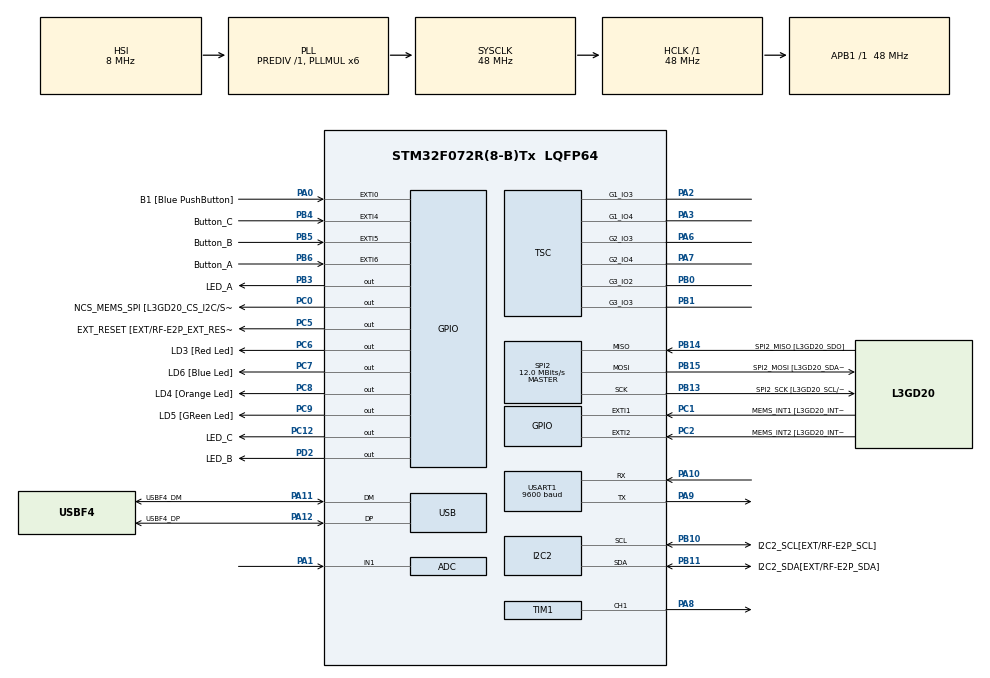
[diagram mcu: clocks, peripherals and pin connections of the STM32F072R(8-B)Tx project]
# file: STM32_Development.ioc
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ADC.Resolution=ADC_RESOLUTION_8B
FREERTOS.INCLUDE_vTaskDelayUntil=1
FREERTOS.Queues01=ledShow,1,uint8_t,0,Dynamic,NULL,NULL
FREERTOS.Tasks01=defaultTask,-3,1800,StartDefaultTask,Default,NULL,Dynamic,NULL,NULL;myTask02,-3,128,StartTask02,Default,NULL,Dynamic,NULL,NULL;continuousTask0,-3,128,ContinuousTask01,Default,NULL,Dynamic,NULL,NULL
FREERTOS.configTOTAL_HEAP_SIZE=10240
I2C2.Timing=0x20303E5D
Mcu.Family=STM32F0
Mcu.Name=STM32F072R(8-B)Tx
Mcu.Package=LQFP64
NVIC.EXTI4_15_IRQn=true\:3\:0\:false\:false\:true\:true\:true\:true
NVIC.TIM6_DAC_IRQn=true\:3\:0\:false\:false\:true\:true\:true\:true
PA0.GPIO_Label=B1 [Blue PushButton]
PA0.GPIO_ModeDefaultEXTI=GPIO_MODE_EVT_RISING
PA0.Signal=GPXTI0
PA1.Mode=IN1
PA1.Signal=ADC_IN1
PA10.Mode=Asynchronous
PA10.Signal=USART1_RX
PA11.GPIO_Label=USBF4_DM
PA11.Mode=Device
PA11.Signal=USB_DM
PA12.GPIO_Label=USBF4_DP
PA12.Mode=Device
PA12.Signal=USB_DP
PA13.GPIO_Label=SWDIO
PA13.Mode=Serial_Wire
PA13.Signal=SYS_SWDIO
PA14.GPIO_Label=SWCLK
PA14.Mode=Serial_Wire
PA14.Signal=SYS_SWCLK
PA2.Mode=G1_IO3-Channel
PA2.Signal=TSC_G1_IO3
PA3.Mode=G1_IO4-Sampling
PA3.Signal=TSC_G1_IO4
PA6.Mode=G2_IO3-Channel
PA6.Signal=TSC_G2_IO3
PA7.Mode=G2_IO4-Sampling
PA7.Signal=TSC_G2_IO4
PA8.Signal=S_TIM1_CH1
PA9.Mode=Asynchronous
PA9.Signal=USART1_TX
PB0.Mode=G3_IO2-Channel
PB0.Signal=TSC_G3_IO2
PB1.Mode=G3_IO3-Sampling
PB1.Signal=TSC_G3_IO3
PB10.GPIO_Label=I2C2_SCL[EXT/RF-E2P_SCL]
PB10.Mode=I2C
PB10.Signal=I2C2_SCL
PB11.GPIO_Label=I2C2_SDA[EXT/RF-E2P_SDA]
PB11.Mode=I2C
PB11.Signal=I2C2_SDA
PB13.GPIO_Label=SPI2_SCK [L3GD20_SCL/SPC]
PB13.Mode=Full_Duplex_Master
PB13.Signal=SPI2_SCK
PB14.GPIO_Label=SPI2_MISO [L3GD20_SDO]
PB14.Mode=Full_Duplex_Master
PB14.Signal=SPI2_MISO
PB15.GPIO_Label=SPI2_MOSI [L3GD20_SDA/SDI]
PB15.Mode=Full_Duplex_Master
PB15.Signal=SPI2_MOSI
PB3.GPIO_Label=LED_A
PB3.Signal=GPIO_Output
PB4.GPIO_Label=Button_C
PB4.Signal=GPXTI4
PB5.GPIO_Label=Button_B
PB5.GPIO_ModeDefaultEXTI=GPIO_MODE_IT_FALLING
PB5.Signal=GPXTI5
PB6.GPIO_Label=Button_A
PB6.GPIO_ModeDefaultEXTI=GPIO_MODE_IT_FALLING
PB6.Signal=GPXTI6
PC0.GPIO_Label=NCS_MEMS_SPI [L3GD20_CS_I2C/SPI]
PC0.Signal=GPIO_Output
PC1.GPIO_Label=MEMS_INT1 [L3GD20_INT1]
PC1.GPIO_ModeDefaultEXTI=GPIO_MODE_EVT_RISING
PC1.Signal=GPXTI1
PC12.GPIO_Label=LED_C
PC12.Signal=GPIO_Output
PC2.GPIO_Label=MEMS_INT2 [L3GD20_INT2]
PC2.GPIO_ModeDefaultEXTI=GPIO_MODE_EVT_RISING
PC2.Signal=GPXTI2
PC5.GPIO_Label=EXT_RESET [EXT/RF-E2P_EXT_RESET]
PC5.Signal=GPIO_Output
PC6.GPIO_Label=LD3 [Red Led]
PC6.Signal=GPIO_Output
PC7.GPIO_Label=LD6 [Blue Led]
PC7.Signal=GPIO_Output
PC8.GPIO_Label=LD4 [Orange Led]
PC8.Signal=GPIO_Output
PC9.GPIO_Label=LD5 [GReen Led]
PC9.Signal=GPIO_Output
PD2.GPIO_Label=LED_B
PD2.Signal=GPIO_Output
ProjectManager.HeapSize=0x200
ProjectManager.StackSize=0x400
ProjectManager.TargetToolchain=STM32CubeIDE
RCC.AHBFreq_Value=48000000
RCC.APB1Freq_Value=48000000
RCC.APB1TimFreq_Value=48000000
RCC.HCLKFreq_Value=48000000
RCC.PLLMUL=RCC_PLL_MUL6
RCC.SYSCLKFreq_VALUE=48000000
RCC.SYSCLKSource=RCC_SYSCLKSOURCE_PLLCLK
SH.S_TIM1_CH1.0=TIM1_CH1,PWM Generation1 CH1
SPI2.BaudRatePrescaler=SPI_BAUDRATEPRESCALER_4
SPI2.CalculateBaudRate=12.0 MBits/s
SPI2.Direction=SPI_DIRECTION_2LINES
SPI2.Mode=SPI_MODE_MASTER
SPI2.VirtualType=VM_MASTER
TIM1.Channel-PWM\ Generation1\ CH1=TIM_CHANNEL_1
TIM1.Period=65535
TIM1.Prescaler=0
TIM6.Period=801
TIM6.Prescaler=601
TSC.ChannelIOs-G1_IO3=TSC_GROUP1_IO3
TSC.ChannelIOs-G2_IO3=TSC_GROUP2_IO3
TSC.ChannelIOs-G3_IO2=TSC_GROUP3_IO2
TSC.SamplingIOs-G1_IO4=TSC_GROUP1_IO4
TSC.SamplingIOs-G2_IO4=TSC_GROUP2_IO4
TSC.SamplingIOs-G3_IO3=TSC_GROUP3_IO3
USART1.BaudRate=9600
USART1.VirtualMode-Asynchronous=VM_ASYNC
USB.phy_itface=PCD_PHY_EMBEDDED
USB.speed=PCD_SPEED_FULL
VP_FREERTOS_VS_CMSIS_V1.Mode=CMSIS_V1
VP_TIM1_VS_ClockSourceINT.Mode=Internal
VP_TIM6_VS_ClockSourceINT.Mode=Enable_Timer
board=STM32F072B-DISCO

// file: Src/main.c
/* USER CODE BEGIN Header */
/**
  ******************************************************************************
  * @file           : main.c
  * @brief          : Main program body
  ******************************************************************************
  * @attention
  *
  * <h2><center>&copy; Copyright (c) 2019 STMicroelectronics.
  * All rights reserved.</center></h2>
  *
  * This software component is licensed by ST under BSD 3-Clause license,
  * the "License"; You may not use this file except in compliance with the
  * License. You may obtain a copy of the License at:
  *                        opensource.org/licenses/BSD-3-Clause
  *
  ******************************************************************************
  */
/* USER CODE END Header */

#include "main.h"
#include "cmsis_os.h"

/* USER CODE BEGIN PD */
uint8_t ADC1_Value;
uint8_t ADC2_Value;
uint8_t Buttons_flag=0;
float Vref=3.0;
float Vm;
uint16_t Timer6_Counter;
/* USER CODE END PD */

ADC_HandleTypeDef hadc;

I2C_HandleTypeDef hi2c2;

SPI_HandleTypeDef hspi2;

TIM_HandleTypeDef htim1;
TIM_HandleTypeDef htim6;

TSC_HandleTypeDef htsc;

UART_HandleTypeDef huart1;

PCD_HandleTypeDef hpcd_USB_FS;

osThreadId defaultTaskHandle;
osThreadId myTask02Handle;
osThreadId continuousTask0Handle;
osMessageQId ledShowHandle;

void SystemClock_Config(void);
static void MX_GPIO_Init(void);
static void MX_I2C2_Init(void);
static void MX_SPI2_Init(void);
static void MX_TSC_Init(void);
static void MX_USB_PCD_Init(void);
static void MX_ADC_Init(void);
static void MX_USART1_UART_Init(void);
static void MX_TIM6_Init(void);
static void MX_TIM1_Init(void);
void StartDefaultTask(void const * argument);
void StartTask02(void const * argument);
void ContinuousTask01(void const * argument);

/* USER CODE BEGIN PFP */
float ADC1_Measure_Poll(void);
typedef enum Keystroke{
	Reset=0,
	SingleClick=1,
	DoubleClick=2,
	LongPress=3,
	OptionKey = 0xAA,
	SimuClick=0xFF
}TypeofClick;
uint16_t ButtonStatus=0;
uint16_t ButIdle_Count=0;
uint8_t IDLE_Flag=0;
/* USER CODE END PFP */

/* USER CODE BEGIN 0 */

int __io_putchar(int ch)
{
	 HAL_UART_Transmit(&huart1, (uint8_t *)&ch, 1, 0xffff);
	 return ch;
}

int __io_getchar(void)
{
	uint8_t ch = 0;
	HAL_UART_Receive(&huart1,(uint8_t *)&ch, 1, 0xFFFF);
	if (ch == '\r')
	{
	   __io_putchar('\r');
	   ch = '\n';
	}
	//return __io_putchar(ch); // return ch;
	return ch;
}

int _read(int file, char *ptr, int len)
{
	int DataIdx;

	for (DataIdx = 0; DataIdx < len; DataIdx++)
	{
		*ptr = __io_getchar();
		if (*ptr++ == '\n') break;
	}
	return ++DataIdx;
}
/* USER CODE END 0 */

int main(void)
{

  /* MCU Configuration--------------------------------------------------------*/

  /* Reset of all peripherals, Initializes the Flash interface and the Systick. */
  HAL_Init();

  /* Configure the system clock */
  SystemClock_Config();

  /* Initialize all configured peripherals */
  MX_GPIO_Init();
  MX_I2C2_Init();
  MX_SPI2_Init();
  MX_TSC_Init();
  MX_USB_PCD_Init();
  MX_ADC_Init();
  MX_USART1_UART_Init();
  MX_TIM6_Init();
  MX_TIM1_Init();
  /* USER CODE BEGIN 2 */
  //HAL_TIM_Base_Start_IT(&htim6); //Start 10ms timer
  /* USER CODE END 2 */

  /* Create the queue(s) */
  /* definition and creation of ledShow */
  osMessageQDef(ledShow, 1, uint8_t);
  ledShowHandle = osMessageCreate(osMessageQ(ledShow), NULL);

  /* Create the thread(s) */
  /* definition and creation of defaultTask */
  osThreadDef(defaultTask, StartDefaultTask, osPriorityIdle, 0, 1800);
  defaultTaskHandle = osThreadCreate(osThread(defaultTask), NULL);

  /* definition and creation of myTask02 */
  osThreadDef(myTask02, StartTask02, osPriorityIdle, 0, 128);
  myTask02Handle = osThreadCreate(osThread(myTask02), NULL);

  /* definition and creation of continuousTask0 */
  osThreadDef(continuousTask0, ContinuousTask01, osPriorityIdle, 0, 128);
  continuousTask0Handle = osThreadCreate(osThread(continuousTask0), NULL);

  /* Start scheduler */
  osKernelStart();

  /* We should never get here as control is now taken by the scheduler */

  /* Infinite loop */
  while (1)
  {

  }
}

void SystemClock_Config(void)
{
  RCC_OscInitTypeDef RCC_OscInitStruct = {0};
  RCC_ClkInitTypeDef RCC_ClkInitStruct = {0};
  RCC_PeriphCLKInitTypeDef PeriphClkInit = {0};

  /** Initializes the CPU, AHB and APB busses clocks
  */
  RCC_OscInitStruct.OscillatorType = RCC_OSCILLATORTYPE_HSI|RCC_OSCILLATORTYPE_HSI14
                              |RCC_OSCILLATORTYPE_HSI48;
  RCC_OscInitStruct.HSIState = RCC_HSI_ON;
  RCC_OscInitStruct.HSI48State = RCC_HSI48_ON;
  RCC_OscInitStruct.HSI14State = RCC_HSI14_ON;
  RCC_OscInitStruct.HSICalibrationValue = RCC_HSICALIBRATION_DEFAULT;
  RCC_OscInitStruct.HSI14CalibrationValue = 16;
  RCC_OscInitStruct.PLL.PLLState = RCC_PLL_ON;
  RCC_OscInitStruct.PLL.PLLSource = RCC_PLLSOURCE_HSI;
  RCC_OscInitStruct.PLL.PLLMUL = RCC_PLL_MUL6;
  RCC_OscInitStruct.PLL.PREDIV = RCC_PREDIV_DIV1;
  if (HAL_RCC_OscConfig(&RCC_OscInitStruct) != HAL_OK)
  {
    Error_Handler();
  }
  /** Initializes the CPU, AHB and APB busses clocks
  */
  RCC_ClkInitStruct.ClockType = RCC_CLOCKTYPE_HCLK|RCC_CLOCKTYPE_SYSCLK
                              |RCC_CLOCKTYPE_PCLK1;
  RCC_ClkInitStruct.SYSCLKSource = RCC_SYSCLKSOURCE_PLLCLK;
  RCC_ClkInitStruct.AHBCLKDivider = RCC_SYSCLK_DIV1;
  RCC_ClkInitStruct.APB1CLKDivider = RCC_HCLK_DIV1;

  if (HAL_RCC_ClockConfig(&RCC_ClkInitStruct, FLASH_LATENCY_1) != HAL_OK)
  {
    Error_Handler();
  }
  PeriphClkInit.PeriphClockSelection = RCC_PERIPHCLK_USB|RCC_PERIPHCLK_USART1;
  PeriphClkInit.Usart1ClockSelection = RCC_USART1CLKSOURCE_PCLK1;
  PeriphClkInit.UsbClockSelection = RCC_USBCLKSOURCE_HSI48;

  if (HAL_RCCEx_PeriphCLKConfig(&PeriphClkInit) != HAL_OK)
  {
    Error_Handler();
  }
}

static void MX_ADC_Init(void)
{

  ADC_ChannelConfTypeDef sConfig = {0};

  /** Configure the global features of the ADC (Clock, Resolution, Data Alignment and number of conversion)
  */
  hadc.Instance = ADC1;
  hadc.Init.ClockPrescaler = ADC_CLOCK_ASYNC_DIV1;
  hadc.Init.Resolution = ADC_RESOLUTION_8B;
  hadc.Init.DataAlign = ADC_DATAALIGN_RIGHT;
  hadc.Init.ScanConvMode = ADC_SCAN_DIRECTION_FORWARD;
  hadc.Init.EOCSelection = ADC_EOC_SINGLE_CONV;
  hadc.Init.LowPowerAutoWait = DISABLE;
  hadc.Init.LowPowerAutoPowerOff = DISABLE;
  hadc.Init.ContinuousConvMode = DISABLE;
  hadc.Init.DiscontinuousConvMode = DISABLE;
  hadc.Init.ExternalTrigConv = ADC_SOFTWARE_START;
  hadc.Init.ExternalTrigConvEdge = ADC_EXTERNALTRIGCONVEDGE_NONE;
  hadc.Init.DMAContinuousRequests = DISABLE;
  hadc.Init.Overrun = ADC_OVR_DATA_PRESERVED;
  if (HAL_ADC_Init(&hadc) != HAL_OK)
  {
    Error_Handler();
  }
  /** Configure for the selected ADC regular channel to be converted.
  */
  sConfig.Channel = ADC_CHANNEL_1;
  sConfig.Rank = ADC_RANK_CHANNEL_NUMBER;
  sConfig.SamplingTime = ADC_SAMPLETIME_1CYCLE_5;
  if (HAL_ADC_ConfigChannel(&hadc, &sConfig) != HAL_OK)
  {
    Error_Handler();
  }

}

static void MX_I2C2_Init(void)
{

  hi2c2.Instance = I2C2;
  hi2c2.Init.Timing = 0x20303E5D;
  hi2c2.Init.OwnAddress1 = 0;
  hi2c2.Init.AddressingMode = I2C_ADDRESSINGMODE_7BIT;
  hi2c2.Init.DualAddressMode = I2C_DUALADDRESS_DISABLE;
  hi2c2.Init.OwnAddress2 = 0;
  hi2c2.Init.OwnAddress2Masks = I2C_OA2_NOMASK;
  hi2c2.Init.GeneralCallMode = I2C_GENERALCALL_DISABLE;
  hi2c2.Init.NoStretchMode = I2C_NOSTRETCH_DISABLE;
  if (HAL_I2C_Init(&hi2c2) != HAL_OK)
  {
    Error_Handler();
  }
  /** Configure Analogue filter
  */
  if (HAL_I2CEx_ConfigAnalogFilter(&hi2c2, I2C_ANALOGFILTER_ENABLE) != HAL_OK)
  {
    Error_Handler();
  }
  /** Configure Digital filter
  */
  if (HAL_I2CEx_ConfigDigitalFilter(&hi2c2, 0) != HAL_OK)
  {
    Error_Handler();
  }

}

static void MX_SPI2_Init(void)
{

  /* SPI2 parameter configuration*/
  hspi2.Instance = SPI2;
  hspi2.Init.Mode = SPI_MODE_MASTER;
  hspi2.Init.Direction = SPI_DIRECTION_2LINES;
  hspi2.Init.DataSize = SPI_DATASIZE_4BIT;
  hspi2.Init.CLKPolarity = SPI_POLARITY_LOW;
  hspi2.Init.CLKPhase = SPI_PHASE_1EDGE;
  hspi2.Init.NSS = SPI_NSS_SOFT;
  hspi2.Init.BaudRatePrescaler = SPI_BAUDRATEPRESCALER_4;
  hspi2.Init.FirstBit = SPI_FIRSTBIT_MSB;
  hspi2.Init.TIMode = SPI_TIMODE_DISABLE;
  hspi2.Init.CRCCalculation = SPI_CRCCALCULATION_DISABLE;
  hspi2.Init.CRCPolynomial = 7;
  hspi2.Init.CRCLength = SPI_CRC_LENGTH_DATASIZE;
  hspi2.Init.NSSPMode = SPI_NSS_PULSE_ENABLE;
  if (HAL_SPI_Init(&hspi2) != HAL_OK)
  {
    Error_Handler();
  }

}

static void MX_TIM1_Init(void)
{

  TIM_ClockConfigTypeDef sClockSourceConfig = {0};
  TIM_MasterConfigTypeDef sMasterConfig = {0};
  TIM_OC_InitTypeDef sConfigOC = {0};
  TIM_BreakDeadTimeConfigTypeDef sBreakDeadTimeConfig = {0};

  htim1.Instance = TIM1;
  htim1.Init.Prescaler = 0;
  htim1.Init.CounterMode = TIM_COUNTERMODE_UP;
  htim1.Init.Period = 65535;
  htim1.Init.ClockDivision = TIM_CLOCKDIVISION_DIV1;
  htim1.Init.RepetitionCounter = 0;
  htim1.Init.AutoReloadPreload = TIM_AUTORELOAD_PRELOAD_DISABLE;
  if (HAL_TIM_Base_Init(&htim1) != HAL_OK)
  {
    Error_Handler();
  }
  sClockSourceConfig.ClockSource = TIM_CLOCKSOURCE_INTERNAL;
  if (HAL_TIM_ConfigClockSource(&htim1, &sClockSourceConfig) != HAL_OK)
  {
    Error_Handler();
  }
  if (HAL_TIM_PWM_Init(&htim1) != HAL_OK)
  {
    Error_Handler();
  }
  sMasterConfig.MasterOutputTrigger = TIM_TRGO_RESET;
  sMasterConfig.MasterSlaveMode = TIM_MASTERSLAVEMODE_DISABLE;
  if (HAL_TIMEx_MasterConfigSynchronization(&htim1, &sMasterConfig) != HAL_OK)
  {
    Error_Handler();
  }
  sConfigOC.OCMode = TIM_OCMODE_PWM1;
  sConfigOC.Pulse = 0;
  sConfigOC.OCPolarity = TIM_OCPOLARITY_HIGH;
  sConfigOC.OCNPolarity = TIM_OCNPOLARITY_HIGH;
  sConfigOC.OCFastMode = TIM_OCFAST_DISABLE;
  sConfigOC.OCIdleState = TIM_OCIDLESTATE_RESET;
  sConfigOC.OCNIdleState = TIM_OCNIDLESTATE_RESET;
  if (HAL_TIM_PWM_ConfigChannel(&htim1, &sConfigOC, TIM_CHANNEL_1) != HAL_OK)
  {
    Error_Handler();
  }
  sBreakDeadTimeConfig.OffStateRunMode = TIM_OSSR_DISABLE;
  sBreakDeadTimeConfig.OffStateIDLEMode = TIM_OSSI_DISABLE;
  sBreakDeadTimeConfig.LockLevel = TIM_LOCKLEVEL_OFF;
  sBreakDeadTimeConfig.DeadTime = 0;
  sBreakDeadTimeConfig.BreakState = TIM_BREAK_DISABLE;
  sBreakDeadTimeConfig.BreakPolarity = TIM_BREAKPOLARITY_HIGH;
  sBreakDeadTimeConfig.AutomaticOutput = TIM_AUTOMATICOUTPUT_DISABLE;
  if (HAL_TIMEx_ConfigBreakDeadTime(&htim1, &sBreakDeadTimeConfig) != HAL_OK)
  {
    Error_Handler();
  }
  HAL_TIM_MspPostInit(&htim1);

}

static void MX_TIM6_Init(void)
{

  TIM_MasterConfigTypeDef sMasterConfig = {0};

  htim6.Instance = TIM6;
  htim6.Init.Prescaler = 601;
  htim6.Init.CounterMode = TIM_COUNTERMODE_UP;
  htim6.Init.Period = 801;
  htim6.Init.AutoReloadPreload = TIM_AUTORELOAD_PRELOAD_DISABLE;
  if (HAL_TIM_Base_Init(&htim6) != HAL_OK)
  {
    Error_Handler();
  }
  sMasterConfig.MasterOutputTrigger = TIM_TRGO_RESET;
  sMasterConfig.MasterSlaveMode = TIM_MASTERSLAVEMODE_DISABLE;
  if (HAL_TIMEx_MasterConfigSynchronization(&htim6, &sMasterConfig) != HAL_OK)
  {
    Error_Handler();
  }

}

static void MX_TSC_Init(void)
{

  /** Configure the TSC peripheral
  */
  htsc.Instance = TSC;
  htsc.Init.CTPulseHighLength = TSC_CTPH_2CYCLES;
  htsc.Init.CTPulseLowLength = TSC_CTPL_2CYCLES;
  htsc.Init.SpreadSpectrum = DISABLE;
  htsc.Init.SpreadSpectrumDeviation = 1;
  htsc.Init.SpreadSpectrumPrescaler = TSC_SS_PRESC_DIV1;
  htsc.Init.PulseGeneratorPrescaler = TSC_PG_PRESC_DIV4;
  htsc.Init.MaxCountValue = TSC_MCV_8191;
  htsc.Init.IODefaultMode = TSC_IODEF_OUT_PP_LOW;
  htsc.Init.SynchroPinPolarity = TSC_SYNC_POLARITY_FALLING;
  htsc.Init.AcquisitionMode = TSC_ACQ_MODE_NORMAL;
  htsc.Init.MaxCountInterrupt = DISABLE;
  htsc.Init.ChannelIOs = TSC_GROUP1_IO3|TSC_GROUP2_IO3|TSC_GROUP3_IO2;
  htsc.Init.ShieldIOs = 0;
  htsc.Init.SamplingIOs = TSC_GROUP1_IO4|TSC_GROUP2_IO4|TSC_GROUP3_IO3;
  if (HAL_TSC_Init(&htsc) != HAL_OK)
  {
    Error_Handler();
  }

}

static void MX_USART1_UART_Init(void)
{

  huart1.Instance = USART1;
  huart1.Init.BaudRate = 9600;
  huart1.Init.WordLength = UART_WORDLENGTH_8B;
  huart1.Init.StopBits = UART_STOPBITS_1;
  huart1.Init.Parity = UART_PARITY_NONE;
  huart1.Init.Mode = UART_MODE_TX_RX;
  huart1.Init.HwFlowCtl = UART_HWCONTROL_NONE;
  huart1.Init.OverSampling = UART_OVERSAMPLING_16;
  huart1.Init.OneBitSampling = UART_ONE_BIT_SAMPLE_DISABLE;
  huart1.AdvancedInit.AdvFeatureInit = UART_ADVFEATURE_NO_INIT;
  if (HAL_UART_Init(&huart1) != HAL_OK)
  {
    Error_Handler();
  }

}

static void MX_USB_PCD_Init(void)
{

  hpcd_USB_FS.Instance = USB;
  hpcd_USB_FS.Init.dev_endpoints = 8;
  hpcd_USB_FS.Init.speed = PCD_SPEED_FULL;
  hpcd_USB_FS.Init.phy_itface = PCD_PHY_EMBEDDED;
  hpcd_USB_FS.Init.low_power_enable = DISABLE;
  hpcd_USB_FS.Init.lpm_enable = DISABLE;
  hpcd_USB_FS.Init.battery_charging_enable = DISABLE;
  if (HAL_PCD_Init(&hpcd_USB_FS) != HAL_OK)
  {
    Error_Handler();
  }

}

static void MX_GPIO_Init(void)
{
  GPIO_InitTypeDef GPIO_InitStruct = {0};

  /* GPIO Ports Clock Enable */
  __HAL_RCC_GPIOC_CLK_ENABLE();
  __HAL_RCC_GPIOA_CLK_ENABLE();
  __HAL_RCC_GPIOB_CLK_ENABLE();
  __HAL_RCC_GPIOD_CLK_ENABLE();

  /*Configure GPIO pin Output Level */
  HAL_GPIO_WritePin(GPIOC, NCS_MEMS_SPI_Pin|EXT_RESET_Pin|LD3_Pin|LD6_Pin
                          |LD4_Pin|LD5_Pin|LED_C_Pin, GPIO_PIN_RESET);

  /*Configure GPIO pin Output Level */
  HAL_GPIO_WritePin(LED_B_GPIO_Port, LED_B_Pin, GPIO_PIN_RESET);

  /*Configure GPIO pin Output Level */
  HAL_GPIO_WritePin(LED_A_GPIO_Port, LED_A_Pin, GPIO_PIN_RESET);

  /*Configure GPIO pins : NCS_MEMS_SPI_Pin EXT_RESET_Pin LD3_Pin LD6_Pin
                           LD4_Pin LD5_Pin LED_C_Pin */
  GPIO_InitStruct.Pin = NCS_MEMS_SPI_Pin|EXT_RESET_Pin|LD3_Pin|LD6_Pin
                          |LD4_Pin|LD5_Pin|LED_C_Pin;
  GPIO_InitStruct.Mode = GPIO_MODE_OUTPUT_PP;
  GPIO_InitStruct.Pull = GPIO_NOPULL;
  GPIO_InitStruct.Speed = GPIO_SPEED_FREQ_LOW;
  HAL_GPIO_Init(GPIOC, &GPIO_InitStruct);

  /*Configure GPIO pins : MEMS_INT1_Pin MEMS_INT2_Pin */
  GPIO_InitStruct.Pin = MEMS_INT1_Pin|MEMS_INT2_Pin;
  GPIO_InitStruct.Mode = GPIO_MODE_EVT_RISING;
  GPIO_InitStruct.Pull = GPIO_NOPULL;
  HAL_GPIO_Init(GPIOC, &GPIO_InitStruct);

  /*Configure GPIO pin : B1_Pin */
  GPIO_InitStruct.Pin = B1_Pin;
  GPIO_InitStruct.Mode = GPIO_MODE_EVT_RISING;
  GPIO_InitStruct.Pull = GPIO_NOPULL;
  HAL_GPIO_Init(B1_GPIO_Port, &GPIO_InitStruct);

  /*Configure GPIO pin : LED_B_Pin */
  GPIO_InitStruct.Pin = LED_B_Pin;
  GPIO_InitStruct.Mode = GPIO_MODE_OUTPUT_PP;
  GPIO_InitStruct.Pull = GPIO_NOPULL;
  GPIO_InitStruct.Speed = GPIO_SPEED_FREQ_LOW;
  HAL_GPIO_Init(LED_B_GPIO_Port, &GPIO_InitStruct);

  /*Configure GPIO pin : LED_A_Pin */
  GPIO_InitStruct.Pin = LED_A_Pin;
  GPIO_InitStruct.Mode = GPIO_MODE_OUTPUT_PP;
  GPIO_InitStruct.Pull = GPIO_NOPULL;
  GPIO_InitStruct.Speed = GPIO_SPEED_FREQ_LOW;
  HAL_GPIO_Init(LED_A_GPIO_Port, &GPIO_InitStruct);

  /*Configure GPIO pin : Button_C_Pin */
  GPIO_InitStruct.Pin = Button_C_Pin;
  GPIO_InitStruct.Mode = GPIO_MODE_IT_RISING;
  GPIO_InitStruct.Pull = GPIO_NOPULL;
  HAL_GPIO_Init(Button_C_GPIO_Port, &GPIO_InitStruct);

  /*Configure GPIO pins : Button_B_Pin Button_A_Pin */
  GPIO_InitStruct.Pin = Button_B_Pin|Button_A_Pin;
  GPIO_InitStruct.Mode = GPIO_MODE_IT_FALLING;
  GPIO_InitStruct.Pull = GPIO_NOPULL;
  HAL_GPIO_Init(GPIOB, &GPIO_InitStruct);

  /* EXTI interrupt init*/
  HAL_NVIC_SetPriority(EXTI4_15_IRQn, 3, 0);
  HAL_NVIC_EnableIRQ(EXTI4_15_IRQn);

}

/* USER CODE BEGIN 4 */
float ADC1_Measure_Poll(void){

	while(HAL_ADCEx_Calibration_Start(&hadc)!=HAL_OK);//perform self-calibration
	HAL_ADC_Start(&hadc); //Start conversion
	if(HAL_ADC_PollForConversion(&hadc,500)==HAL_OK){ //Polling for conversion result
	ADC1_Value=HAL_ADC_GetValue(&hadc);
	}
	HAL_ADC_Stop(&hadc);
	return ADC1_Value;
}
void HAL_GPIO_EXTI_Callback(uint16_t GPIO){
	if(GPIO==Button_A_Pin)
		Buttons_flag+=0xF0;
	if(GPIO==Button_B_Pin)
		Buttons_flag+=0x0F;
	if(GPIO==Button_C_Pin)
		Buttons_flag=0xAA;

	Timer6_Counter=0;
	HAL_TIM_Base_Start_IT(&htim6);
}
HAL_TIM_PeriodElapsedCallback(TIM_HandleTypeDef *htim){
if(htim->Instance==TIM6){
	if((HAL_GPIO_ReadPin(Button_A_GPIO_Port,Button_A_Pin)==0)|(HAL_GPIO_ReadPin(Button_B_GPIO_Port,Button_B_Pin)==0)){
	Timer6_Counter++;
	}
	else{
	if(Timer6_Counter<=100&Timer6_Counter>=1){
	ButtonStatus++;
	//if(ButtonStatus>=3)
	//ButtonStatus=Reset;
	}
	else if(Timer6_Counter>=200){
	ButtonStatus=LongPress;
	}
	Timer6_Counter=0;
	ButIdle_Count++;
	}
	if(ButIdle_Count>=25){
		IDLE_Flag=1;
		ButIdle_Count=0;
		if(Buttons_flag==0xFF){
		ButtonStatus=SimuClick;
		}
		else if(Buttons_flag == 0xAA){
	    ButtonStatus=OptionKey;
		}
		Buttons_flag=0;
	}
	// Button_Operation_Event();
	BaseType_t ButtonCheck;
	ButtonCheck = xTaskResumeFromISR(myTask02Handle);
	portYIELD_FROM_ISR(ButtonCheck);
}
}
void Button_Operation_Event(void){
	if(IDLE_Flag==1){
		switch (ButtonStatus){
		case Reset:
			ButIdle_Count=0;
			break;
		case SingleClick:
			HAL_GPIO_TogglePin(LED_A_GPIO_Port,LED_A_Pin);
			break;
		case DoubleClick:
			HAL_GPIO_TogglePin(LED_B_GPIO_Port,LED_B_Pin);
			break;
		case LongPress:
			HAL_GPIO_TogglePin(LED_C_GPIO_Port,LED_C_Pin);
			break;
		case SimuClick:
			HAL_GPIO_TogglePin(LED_A_GPIO_Port,LED_A_Pin);
			HAL_GPIO_TogglePin(LED_B_GPIO_Port,LED_B_Pin);
			break;
		case OptionKey:
			xQueueSendToBack(ledShowHandle,&ButtonStatus,0);
		default:
			break;
		}
		ButtonStatus=Reset;
		Timer6_Counter=0;
		IDLE_Flag=0;
		HAL_TIM_Base_Stop_IT(&htim6);
	}
}
/* USER CODE END 4 */

void StartDefaultTask(void const * argument)
{
  /* USER CODE BEGIN 5 */
  uint8_t queueMessage;
  const TickType_t tickTowait = pdMS_TO_TICKS(50);
  TickType_t xLastWakeTime;
  uint16_t ledShow_buf = 1000;
 //const TickType_t xDelay = pdMS_TO_TICKS( ledShow_buf );
  xLastWakeTime = xTaskGetTickCount();
  HAL_TIM_PWM_Start(&htim1,TIM_CHANNEL_1);
  /* Infinite loop */
  for(;;)
  {
	if(xQueueReceive(ledShowHandle,&queueMessage,tickTowait)==pdPASS){
		ledShow_buf -= 200;
		if(ledShow_buf == 0)
	    ledShow_buf = 1000;
	}
	HAL_GPIO_TogglePin(LED_C_GPIO_Port,LED_C_Pin);
	vTaskDelayUntil( &xLastWakeTime,  pdMS_TO_TICKS( ledShow_buf ) );
  }
  /* USER CODE END 5 */
}

void StartTask02(void const * argument)
{
  /* USER CODE BEGIN StartTask02 */
  /* Infinite loop */
  for(;;)
  {
	vTaskSuspend(NULL);
	Button_Operation_Event();
  }
  /* USER CODE END StartTask02 */
}

void ContinuousTask01(void const * argument)
{
  /* USER CODE BEGIN ContinuousTask01 */
  /* Infinite loop */
  for(;;)
  {
	Vm = Vref*(ADC1_Measure_Poll()/255);
	TIM1->CCR1 = ((65535*Vm)/3.0);
	//printf("The measured voltage = %f%s\n",Vm," V");
    osDelay(1);
  }
  /* USER CODE END ContinuousTask01 */
}

void Error_Handler(void)
{
}

/************************ (C) COPYRIGHT STMicroelectronics *****END OF FILE****/
